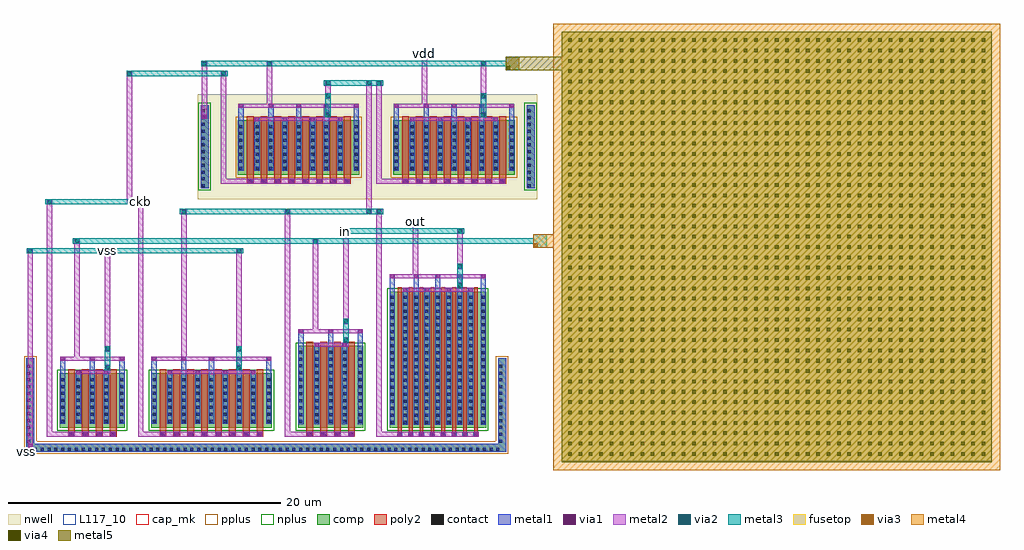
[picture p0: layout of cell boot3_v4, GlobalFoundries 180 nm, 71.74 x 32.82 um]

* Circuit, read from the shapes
.subckt boot3_v4 ckb in out vdd vss
XM1 vss ckb n1 vss nfet_03v3 w=4u l=0.5u m=4
XM2 vss ckb n2 vss nfet_03v3 w=4u l=0.5u m=8
XM3 in n2 n1 vss nfet_03v3 w=6u l=0.5u m=4
XM4 in n2 out vss nfet_03v3 w=10u l=0.28u m=8
XM5 n2 ckb n3 n3 pfet_03v3 w=4u l=0.5u m=8
XM6 n3 n2 vdd n3 pfet_03v3 w=4u l=0.5u m=8
XC7 n3 n1 cap_mim_2f0fF c_width=31.62u c_length=31.62u
.ends

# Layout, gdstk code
import gdstk
lib = gdstk.Library(unit=1e-6, precision=1e-09)
def R(c, l, rs):  # rectangles x0, y0, x1, y1
    for r in rs: c.add(gdstk.rectangle(r[:2], r[2:], *l))
def A(c, l, x, y, w, h, nx, ny, dx, dy):  # array of equal rectangles
    R(c, l, [(x+i*dx, y+j*dy, x+i*dx+w, y+j*dy+h) for i in range(nx) for j in range(ny)])
nwell = (21, 0)
comp = (22, 0)
poly2 = (30, 0)
pplus = (31, 0)
nplus = (32, 0)
contact = (33, 0)
metal1 = (34, 0)
via1 = (35, 0)
metal2 = (36, 0)
via2 = (38, 0)
via3 = (40, 0)
via4 = (41, 0)
metal3 = (42, 0)
metal4 = (46, 0)
fusetop = (75, 0)
metal5 = (81, 0)
cap_mk = (117, 5)
L117_10 = (117, 10)

boot3_v4 = lib.new_cell('boot3_v4')
R(boot3_v4, nwell, [(10.32,16.8,35.28,24.5), (12.82,18.16,22.64,23.04), (24.24,18.16,34.06,23.04)])
R(boot3_v4, comp, [(-2.3,-1.77,32.99,-1.17), (-2.3,-1.17,-1.7,5.1), (32.39,-1.17,32.99,5.1), (0.17,0,0.59,4), (0.59,0,4.53,4), (4.53,0,4.95,4), (6.89,0,7.31,4), (7.31,0,15.33,4), (15.33,0,15.75,4), (17.69,0,18.11,6), (18.11,0,22.05,6), (22.05,0,22.47,6), (24.41,0,24.83,10), (24.83,0,31.09,10), (31.09,0,31.51,10), (10.52,17.6,11.12,23.7), (34.48,17.6,35.08,23.7), (13.26,18.6,13.72,22.6), (13.72,18.6,21.74,22.6), (21.74,18.6,22.2,22.6), (24.68,18.6,25.14,22.6), (25.14,18.6,33.16,22.6), (33.16,18.6,33.62,22.6)])
A(boot3_v4, poly2, 0.78, -0.66, 0.5, 0.36, 4, 1, 1.02, 0)
A(boot3_v4, poly2, 7.5, -0.66, 0.5, 0.36, 8, 1, 1.02, 0)
A(boot3_v4, poly2, 18.3, -0.66, 0.5, 0.36, 4, 1, 1.02, 0)
A(boot3_v4, poly2, 24.98, -0.66, 0.36, 0.36, 8, 1, 0.8, 0)
A(boot3_v4, poly2, 0.78, -0.3, 0.5, 4.6, 4, 1, 1.02, 0)
A(boot3_v4, poly2, 7.5, -0.3, 0.5, 4.6, 8, 1, 1.02, 0)
A(boot3_v4, poly2, 18.3, -0.3, 0.5, 6.6, 4, 1, 1.02, 0)
A(boot3_v4, poly2, 25.02, -0.3, 0.28, 10.6, 8, 1, 0.8, 0)
A(boot3_v4, poly2, 13.91, 17.92, 0.5, 0.38, 8, 1, 1.02, 0)
A(boot3_v4, poly2, 25.33, 17.92, 0.5, 0.38, 8, 1, 1.02, 0)
A(boot3_v4, poly2, 13.91, 18.3, 0.5, 4.6, 8, 1, 1.02, 0)
A(boot3_v4, poly2, 25.33, 18.3, 0.5, 4.6, 8, 1, 1.02, 0)
R(boot3_v4, pplus, [(-2.46,-1.93,33.15,-1.01), (-2.46,-1.33,-1.54,5.26), (32.23,-1.33,33.15,5.26), (13.09,18.36,22.37,22.84), (24.51,18.36,33.79,22.84)])
R(boot3_v4, nplus, [(0,-0.24,5.12,4.24), (6.72,-0.24,15.92,4.24), (17.52,-0.24,22.64,6.24), (24.24,-0.24,31.68,10.24), (10.36,17.44,11.28,23.86), (34.32,17.44,35.24,23.86)])
A(boot3_v4, contact, -2.23, -1.7, 0.22, 0.22, 70, 1, 0.5, 0)
A(boot3_v4, contact, -2.23, -1.1, 0.22, 0.22, 1, 12, 0, 0.5)
A(boot3_v4, contact, 32.46, -1.1, 0.22, 0.22, 1, 12, 0, 0.5)
A(boot3_v4, contact, 0.92, -0.59, 0.22, 0.22, 4, 1, 1.02, 0)
A(boot3_v4, contact, 7.64, -0.59, 0.22, 0.22, 8, 1, 1.02, 0)
A(boot3_v4, contact, 18.44, -0.59, 0.22, 0.22, 4, 1, 1.02, 0)
A(boot3_v4, contact, 25.05, -0.59, 0.22, 0.22, 8, 1, 0.8, 0)
A(boot3_v4, contact, 24.51, 0.3, 0.22, 0.22, 1, 19, 0, 0.51)
A(boot3_v4, contact, 25.45, 0.3, 0.22, 0.22, 7, 19, 0.8, 0.51)
A(boot3_v4, contact, 31.19, 0.3, 0.22, 0.22, 1, 19, 0, 0.51)
A(boot3_v4, contact, 17.79, 0.34, 0.22, 0.22, 1, 11, 0, 0.51)
A(boot3_v4, contact, 18.95, 0.34, 0.22, 0.22, 3, 11, 1.02, 0.51)
A(boot3_v4, contact, 22.15, 0.34, 0.22, 0.22, 1, 11, 0, 0.51)
A(boot3_v4, contact, 0.27, 0.36, 0.22, 0.22, 1, 7, 0, 0.51)
A(boot3_v4, contact, 1.43, 0.36, 0.22, 0.22, 3, 7, 1.02, 0.51)
A(boot3_v4, contact, 4.63, 0.36, 0.22, 0.22, 1, 7, 0, 0.51)
A(boot3_v4, contact, 6.99, 0.36, 0.22, 0.22, 1, 7, 0, 0.51)
A(boot3_v4, contact, 8.15, 0.36, 0.22, 0.22, 7, 7, 1.02, 0.51)
A(boot3_v4, contact, 15.43, 0.36, 0.22, 0.22, 1, 7, 0, 0.51)
A(boot3_v4, contact, 10.59, 17.67, 0.22, 0.22, 1, 12, 0, 0.5)
A(boot3_v4, contact, 34.55, 17.67, 0.22, 0.22, 1, 12, 0, 0.5)
A(boot3_v4, contact, 14.05, 18, 0.22, 0.22, 8, 1, 1.02, 0)
A(boot3_v4, contact, 25.47, 18, 0.22, 0.22, 8, 1, 1.02, 0)
A(boot3_v4, contact, 13.38, 18.96, 0.22, 0.22, 1, 7, 0, 0.51)
A(boot3_v4, contact, 14.56, 18.96, 0.22, 0.22, 7, 7, 1.02, 0.51)
A(boot3_v4, contact, 21.86, 18.96, 0.22, 0.22, 1, 7, 0, 0.51)
A(boot3_v4, contact, 24.8, 18.96, 0.22, 0.22, 1, 7, 0, 0.51)
A(boot3_v4, contact, 25.98, 18.96, 0.22, 0.22, 7, 7, 1.02, 0.51)
A(boot3_v4, contact, 33.28, 18.96, 0.22, 0.22, 1, 7, 0, 0.51)
A(boot3_v4, metal1, 0.84, -0.67, 0.38, 0.38, 4, 1, 1.02, 0)
A(boot3_v4, metal1, 7.56, -0.67, 0.38, 0.38, 8, 1, 1.02, 0)
A(boot3_v4, metal1, 18.36, -0.67, 0.38, 0.38, 4, 1, 1.02, 0)
A(boot3_v4, metal1, 24.97, -0.67, 0.38, 0.38, 8, 1, 0.8, 0)
A(boot3_v4, metal1, 25.37, 0.22, 0.38, 9.56, 7, 1, 0.8, 0)
A(boot3_v4, metal1, 18.87, 0.26, 0.38, 5.48, 3, 1, 1.02, 0)
A(boot3_v4, metal1, 1.35, 0.28, 0.38, 3.44, 3, 1, 1.02, 0)
A(boot3_v4, metal1, 8.07, 0.28, 0.38, 3.44, 7, 1, 1.02, 0)
A(boot3_v4, metal1, 0.19, 3.67, 0.38, 1.55, 3, 1, 2.18, 0)
A(boot3_v4, metal1, 8.07, 3.67, 0.38, 0.55, 4, 1, 2.04, 0)
A(boot3_v4, metal1, 9.09, 3.67, 0.38, 1.55, 3, 1, 2.04, 0)
A(boot3_v4, metal1, 17.71, 5.69, 0.38, 1.55, 3, 1, 2.18, 0)
A(boot3_v4, metal1, 25.37, 9.73, 0.38, 0.55, 4, 1, 1.6, 0)
A(boot3_v4, metal1, 26.17, 9.73, 0.38, 1.55, 3, 1, 1.6, 0)
A(boot3_v4, metal1, 13.97, 17.92, 0.38, 0.38, 8, 1, 1.02, 0)
A(boot3_v4, metal1, 25.39, 17.92, 0.38, 0.38, 8, 1, 1.02, 0)
A(boot3_v4, metal1, 14.48, 18.88, 0.38, 3.44, 7, 1, 1.02, 0)
A(boot3_v4, metal1, 25.9, 18.88, 0.38, 3.44, 7, 1, 1.02, 0)
A(boot3_v4, metal1, 14.48, 22.27, 0.38, 0.55, 4, 1, 2.04, 0)
A(boot3_v4, metal1, 15.5, 22.27, 0.38, 1.55, 3, 1, 2.04, 0)
A(boot3_v4, metal1, 25.9, 22.27, 0.38, 0.55, 4, 1, 2.04, 0)
A(boot3_v4, metal1, 26.92, 22.27, 0.38, 1.55, 3, 1, 2.04, 0)
R(boot3_v4, metal1, [(-2.3,-1.77,32.99,-1.17), (-2.3,-1.17,-1.7,5.1), (32.39,-1.17,32.99,5.1), (24.43,0.22,24.81,9.78), (31.11,0.22,31.49,9.78), (17.71,0.26,18.09,5.74), (22.07,0.26,22.45,5.74), (0.19,0.28,0.57,3.72), (4.55,0.28,4.93,3.72), (6.91,0.28,7.29,3.72), (15.35,0.28,15.73,3.72), (1.35,3.67,1.73,4.22), (3.39,3.67,3.77,4.22), (6.91,3.67,7.29,5.22), (15.35,3.67,15.73,5.22), (18.87,5.69,19.25,6.24), (20.91,5.69,21.29,6.24), (24.43,9.73,24.81,11.28), (31.11,9.73,31.49,11.28), (10.52,17.6,11.12,23.7), (34.48,17.6,35.08,23.7), (13.3,18.88,13.68,22.32), (21.78,18.88,22.16,22.32), (24.72,18.88,25.1,22.32), (33.2,18.88,33.58,22.32), (13.3,22.27,13.68,23.82), (21.78,22.27,22.16,23.82), (24.72,22.27,25.1,23.82), (33.2,22.27,33.58,23.82)])
A(boot3_v4, via1, 0.9, -0.61, 0.26, 0.26, 4, 1, 1.02, 0)
A(boot3_v4, via1, 7.62, -0.61, 0.26, 0.26, 8, 1, 1.02, 0)
A(boot3_v4, via1, 18.42, -0.61, 0.26, 0.26, 4, 1, 1.02, 0)
A(boot3_v4, via1, 25.03, -0.61, 0.26, 0.26, 8, 1, 0.8, 0)
A(boot3_v4, via1, 8.13, 3.94, 0.26, 0.26, 4, 1, 2.04, 0)
A(boot3_v4, via1, 0.25, 4.94, 0.26, 0.26, 3, 1, 2.18, 0)
A(boot3_v4, via1, 9.15, 4.94, 0.26, 0.26, 3, 1, 2.04, 0)
A(boot3_v4, via1, 17.77, 6.96, 0.26, 0.26, 3, 1, 2.18, 0)
A(boot3_v4, via1, 25.43, 10, 0.26, 0.26, 4, 1, 1.6, 0)
A(boot3_v4, via1, 26.23, 11, 0.26, 0.26, 3, 1, 1.6, 0)
A(boot3_v4, via1, 14.03, 17.98, 0.26, 0.26, 8, 1, 1.02, 0)
A(boot3_v4, via1, 25.45, 17.98, 0.26, 0.26, 8, 1, 1.02, 0)
A(boot3_v4, via1, 14.54, 22.54, 0.26, 0.26, 4, 1, 2.04, 0)
A(boot3_v4, via1, 25.96, 22.54, 0.26, 0.26, 4, 1, 2.04, 0)
A(boot3_v4, via1, 15.56, 23.54, 0.26, 0.26, 3, 1, 2.04, 0)
A(boot3_v4, via1, 26.98, 23.54, 0.26, 0.26, 3, 1, 2.04, 0)
R(boot3_v4, via1, [(-2.13,-1.45,-1.87,-1.19), (1.41,3.94,1.67,4.2), (3.45,3.94,3.71,4.2), (6.97,4.94,7.23,5.2), (15.41,4.94,15.67,5.2), (18.93,5.96,19.19,6.22), (20.97,5.96,21.23,6.22), (24.49,11,24.75,11.26), (31.17,11,31.43,11.26), (10.69,22.72,10.95,22.98), (13.36,23.54,13.62,23.8), (21.84,23.54,22.1,23.8), (24.78,23.54,25.04,23.8), (33.26,23.54,33.52,23.8)])
R(boot3_v4, metal2, [(-2.2,-1.47,-1.8,13.2), (-0.8,-0.67,4.28,-0.29), (-0.8,-0.67,-0.4,13), (5.92,-0.67,6.32,13), (5.92,-0.67,15.08,-0.29), (16.72,-0.67,21.8,-0.29), (16.72,-0.67,17.12,13), (23.44,-0.67,23.84,13), (23.44,-0.67,30.95,-0.29), (1.35,3.92,3.77,4.22), (3.485,3.92,3.885,4.62), (8.07,3.92,14.57,4.22), (13.145,3.92,13.545,4.62), (0.19,4.92,4.93,5.22), (1.235,4.92,1.635,13), (6.91,4.92,15.73,5.22), (9.095,4.92,9.495,13), (3.485,5.57,3.885,13), (13.145,5.57,13.545,13), (18.87,5.94,21.29,6.24), (21.005,5.94,21.405,6.64), (17.71,6.94,22.45,7.24), (18.755,6.94,19.155,13), (21.005,7.59,21.405,13), (25.37,9.98,30.55,10.28), (29.395,9.98,29.795,10.68), (24.43,10.98,31.49,11.28), (26.125,10.98,26.525,13), (29.395,11.63,29.795,13), (-0.8,12.9,-0.4,16.8), (1.235,12.9,1.635,13.92), (3.485,12.9,3.885,13.2), (5.92,12.9,6.32,16.8), (9.095,12.9,9.495,16.08), (13.145,12.9,13.545,13.2), (16.72,12.9,17.12,16.08), (18.755,12.9,19.155,13.92), (21.005,12.9,21.405,14.64), (23.44,12.9,23.84,16.08), (26.125,12.9,26.525,15.36), (29.395,12.9,29.795,14.64), (22.69,15.68,23.09,25.52), (5.1,16.4,5.5,26.24), (12.02,17.92,21.49,18.3), (12.02,17.92,12.42,25.32), (23.44,17.92,32.91,18.3), (23.44,17.92,23.84,25.32), (14.48,22.52,20.98,22.82), (19.69,22.52,20.09,23.22), (25.9,22.52,32.4,22.82), (31.11,22.52,31.51,23.22), (10.62,22.7,11.02,26.96), (13.3,23.52,22.16,23.82), (15.37,23.52,15.77,25.32), (24.72,23.52,33.58,23.82), (26.79,23.52,27.19,25.32), (19.69,24.17,20.09,25.32), (31.11,24.17,31.51,25.32), (12.02,25.22,12.42,26.24), (15.37,25.22,15.77,26.96), (19.69,25.22,20.09,25.52), (23.44,25.22,23.84,25.52), (26.79,25.22,27.19,27.68), (31.11,25.22,31.51,26.96)])
R(boot3_v4, via2, [(3.555,4.29,3.815,4.55), (13.215,4.29,13.475,4.55), (3.555,5.64,3.815,5.9), (13.215,5.64,13.475,5.9), (21.075,6.31,21.335,6.57), (21.075,7.66,21.335,7.92), (29.465,10.35,29.725,10.61), (29.465,11.7,29.725,11.96), (-2.13,12.87,-1.87,13.13), (3.555,12.87,3.815,13.13), (13.215,12.87,13.475,13.13), (1.305,13.59,1.565,13.85), (18.825,13.59,19.085,13.85), (21.075,14.31,21.335,14.57), (29.465,14.31,29.725,14.57), (26.195,15.03,26.455,15.29), (9.165,15.75,9.425,16.01), (16.79,15.75,17.05,16.01), (22.76,15.75,23.02,16.01), (23.51,15.75,23.77,16.01), (-0.73,16.47,-0.47,16.73), (5.17,16.47,5.43,16.73), (5.99,16.47,6.25,16.73), (19.76,22.89,20.02,23.15), (31.18,22.89,31.44,23.15), (19.76,24.24,20.02,24.5), (31.18,24.24,31.44,24.5), (19.76,25.19,20.02,25.45), (22.76,25.19,23.02,25.45), (23.51,25.19,23.77,25.45), (5.17,25.91,5.43,26.17), (12.09,25.91,12.35,26.17), (10.69,26.63,10.95,26.89), (15.44,26.63,15.7,26.89), (31.18,26.63,31.44,26.89), (26.86,27.35,27.12,27.61)])
R(boot3_v4, via3, [(35.03,13.29,35.29,13.55), (33.03,26.33,33.29,26.59)])
A(boot3_v4, via4, 37.54, -2.055, 0.26, 0.26, 41, 41, 0.76, 0.76)
R(boot3_v4, via4, [(33.03,26.33,33.29,26.59)])
R(boot3_v4, metal3, [(3.485,4.22,3.885,5.97), (13.145,4.22,13.545,5.97), (21.005,6.24,21.405,7.99), (29.395,10.28,29.795,12.03), (-2.25,12.8,13.645,13.2), (3.385,12.8,13.645,13.2), (34.96,13.22,35.96,14.22), (1.135,13.52,19.255,13.92), (19.255,13.52,35.96,13.92), (20.905,14.24,29.895,14.64), (26.025,14.96,26.625,15.36), (8.995,15.68,23.94,16.08), (-0.9,16.4,6.42,16.8), (19.69,22.82,20.09,24.57), (31.11,22.82,31.51,24.57), (19.59,25.12,23.94,25.52), (5.1,25.84,12.52,26.24), (11.92,25.84,12.52,26.24), (32.96,26.26,33.96,27.26), (10.57,26.56,31.61,26.96), (15.27,26.56,31.61,26.96), (31.61,26.56,33.96,26.96), (26.69,27.28,27.29,27.68)])
R(boot3_v4, metal4, [(36.46,-3.135,69.28,29.685), (34.96,13.22,37.06,14.22), (32.96,26.26,33.96,27.26)])
R(boot3_v4, fusetop, [(37.06,-2.535,68.68,29.085)])
R(boot3_v4, metal5, [(37.06,-2.535,68.68,29.085), (32.96,26.26,38.06,27.26)])
R(boot3_v4, cap_mk, [(36.46,-3.135,69.28,29.685)])
R(boot3_v4, L117_10, [(37.06,-2.535,68.68,-2.435)])
boot3_v4.add(gdstk.Label('vss', (3.686,13), layer=42, texttype=10))
boot3_v4.add(gdstk.Label('in', (21.206,14.44), layer=42, texttype=10))
boot3_v4.add(gdstk.Label('out', (26.323,15.16), layer=42, texttype=10))
boot3_v4.add(gdstk.Label('vdd', (26.989,27.48), layer=42, texttype=10))
boot3_v4.add(gdstk.Label('ckb', (6.12,16.6), layer=42, texttype=10))
boot3_v4.add(gdstk.Label('vss', (-2.3,-1.77), layer=34, texttype=10))

lib.write_gds('boot3_v4.gds')
